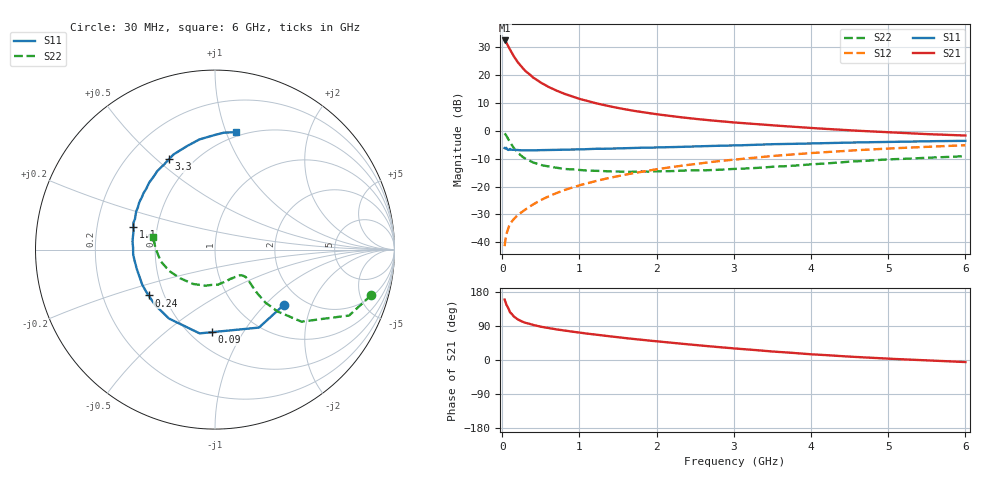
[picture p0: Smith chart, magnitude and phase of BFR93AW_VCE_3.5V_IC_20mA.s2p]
! Infineon Technologies  Discrete & RF Semiconductors
! BFR93AW
! VCE =  3.5 V,  IC =  20 mA
! Common Emitter S-Parameters:  Nov 2015
# GHz  S  MA  R  50
!  f  S11  S21  S12  S22
! GHz  MAG  ANG  MAG  ANG  MAG  ANG  MAG  ANG
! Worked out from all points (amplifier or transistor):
!   206 points, 30 MHz to 6 GHz, reference 50 ohm
!   highest |S21| = 32.5 dB at 30 MHz (marker M1)
!   |S21| within 3 dB of that: start of sweep to 94.14 MHz
!   unconditionally stable (mu >= 1): 558.5 MHz to 2.226 GHz
!   at 200 MHz: K = 0.71, MSG = 27.5 dB, |S12| = -30.2 dB
!   at 1.56 GHz: K = 1.04, MAG = 10.6 dB, |S12| = -15.9 dB
!   at 6 GHz: K = 0.91, MSG = 1.7 dB, |S12| = -5.1 dB
!   S11 on the Smith chart (normalised r, x): 30 MHz: 1.61, -1.30; 90 MHz: 0.63, -0.74; 240 MHz: 0.41, -0.26; 1.1 GHz: 0.36, +0.12; 3.3 GHz: 0.37, +0.55; 6 GHz: 0.46, +1.08
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0.03  0.4925 -38.4  42.32 159.5  0.0085 76.5  0.9074 -16.2
0.05  0.4987 -60.6  39.18 146.4  0.0134 70.9  0.8325 -26.2
0.09  0.4607 -92.4  30.67 131.1  0.0199 61.9  0.6646 -36.4
0.1  0.4745 -100.4  29.01 126.0  0.0216 60.5  0.627 -39.8
0.15  0.4619 -123.7  21.75 114.4  0.0261 58.2  0.4902 -44.7
0.2  0.4548 -137.2  17.22 107.1  0.0308 59.4  0.4076 -46.4
0.24  0.4497 -145.4  14.72 103.2  0.0338 60.5  0.3626 -46.2
0.3  0.4499 -154.3  11.94 98.1  0.0388 62.0  0.3172 -45.5
0.4  0.4487 -164.5  9.1 92.3  0.0478 65.8  0.2712 -43.5
0.5  0.452 -171.7  7.367 87.8  0.0572 67.4  0.2442 -42.5
0.6  0.4567 -176.6  6.173 84.2  0.0667 68.6  0.2295 -41.8
0.7  0.4567 178.4  5.336 80.8  0.0762 69.1  0.2193 -42.3
0.88  0.463 171.7  4.28 75.6  0.0935 70.0  0.2052 -44.3
1.04  0.4674 166.2  3.647 71.3  0.1092 69.9  0.1972 -47.1
1.1  0.4715 164.6  3.455 69.6  0.1148 69.8  0.1937 -49.2
1.5  0.4876 154.3  2.583 60.1  0.1543 68.2  0.1872 -58.7
2.02  0.507 142.0  1.981 48.8  0.2068 64.6  0.1886 -75.1
3.1  0.5534 120.6  1.389 29.1  0.3146 55.1  0.2099 -108.5
3.3  0.5648 117.0  1.324 25.9  0.3345 53.0  0.2168 -115.8
4.1  0.6007 103.8  1.109 14.0  0.4091 44.5  0.2557 -143.6
5.1  0.6379 90.4  0.934 2.6  0.4903 33.5  0.3117 -170.3
6  0.6643 79.9  0.828 -5.4  0.5543 24.1  0.3533 168.4
